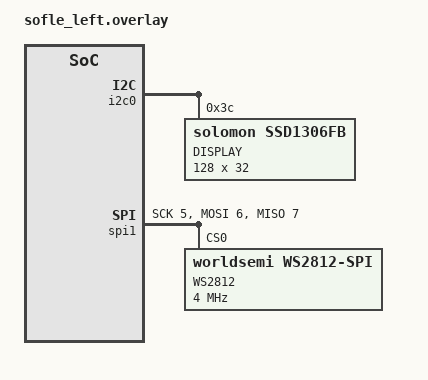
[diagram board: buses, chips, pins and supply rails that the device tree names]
// Sofle v2 — Lewa połowa (nice!nano v2)
// Enkoder lewy + OLED + RGB 36 diód

#include "sofle.dtsi"

// ── OLED SSD1306 128×32 ────────────────────────
&i2c0 {
    status = "okay";
    ssd1306: ssd1306@3c {
        compatible = "solomon,ssd1306fb";
        reg = <0x3c>;
        label = "DISPLAY";
        width = <128>;
        height = <32>;
        segment-offset = <0>;
        page-offset = <0>;
        display-offset = <0>;
        multiplex-ratio = <31>;
        com-sequential;
        prechargep = <0x22>;
    };
};

// ── RGB WS2812 — 36 diód lewa strona ──────────
// Data pin: P0.06 (D1 na nice!nano v2)
&spi1 {
    compatible = "nordic,nrf-spim";
    status = "okay";
    mosi-pin = <6>;
    // Wymagane dummy piny dla nRF52840 SPI master
    sck-pin = <5>;
    miso-pin = <7>;

    led_strip: ws2812@0 {
        compatible = "worldsemi,ws2812-spi";
        label = "WS2812";
        reg = <0>;
        spi-max-frequency = <4000000>;
        chain-length = <36>;
        spi-one-frame = <0x70>;
        spi-zero-frame = <0x40>;
        color-mapping = <LED_COLOR_ID_GREEN
                         LED_COLOR_ID_RED
                         LED_COLOR_ID_BLUE>;
    };
};

// ── Enkoder lewy EC11 ──────────────────────────
// A: P0.22 (F5), B: P0.24 (F4)
left_encoder: encoder_left {
    compatible = "alps,ec11";
    label = "LEFT_ENCODER";
    a-gpios = <&gpio0 22 (GPIO_ACTIVE_HIGH | GPIO_PULL_UP)>;
    b-gpios = <&gpio0 24 (GPIO_ACTIVE_HIGH | GPIO_PULL_UP)>;
    resolution = <4>;
    status = "okay";
};

// ── Matryca klawiszy — lewa 5×6 ───────────────
&kscan0 {
    col-gpios
        = <&pro_micro 4  GPIO_ACTIVE_HIGH>
        , <&pro_micro 5  GPIO_ACTIVE_HIGH>
        , <&pro_micro 6  GPIO_ACTIVE_HIGH>
        , <&pro_micro 7  GPIO_ACTIVE_HIGH>
        , <&pro_micro 8  GPIO_ACTIVE_HIGH>
        , <&pro_micro 9  GPIO_ACTIVE_HIGH>
        ;
    row-gpios
        = <&pro_micro 21 (GPIO_ACTIVE_HIGH | GPIO_PULL_DOWN)>
        , <&pro_micro 20 (GPIO_ACTIVE_HIGH | GPIO_PULL_DOWN)>
        , <&pro_micro 19 (GPIO_ACTIVE_HIGH | GPIO_PULL_DOWN)>
        , <&pro_micro 18 (GPIO_ACTIVE_HIGH | GPIO_PULL_DOWN)>
        , <&pro_micro 15 (GPIO_ACTIVE_HIGH | GPIO_PULL_DOWN)>
        ;
};

/ {
    chosen {
        zmk,display = &ssd1306;
        zmk,underglow = &led_strip;
    };
};
